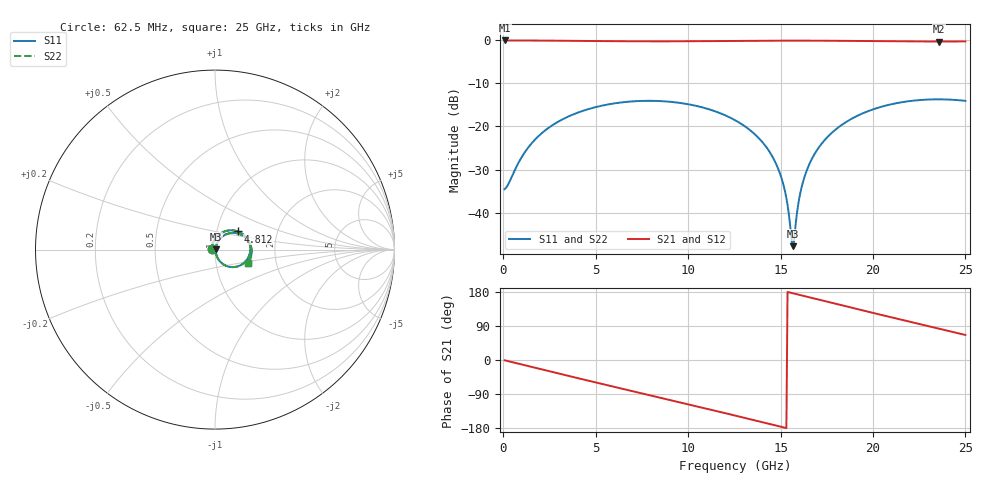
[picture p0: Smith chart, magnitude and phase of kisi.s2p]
! thru_BV_ts_refinout2_q050f25s_out: 2×thru B.Cu, 6 mm
! stackup: as the board case
! ports: 1 near, 2 far
! kisi-fdtd, conformal, dfine 0.05 mm, 186592 cells
# Hz S RI R 50
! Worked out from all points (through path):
!   400 points, 62.5 MHz to 25 GHz, reference 50 ohm
!   highest |S21| = -0.16 dB at 62.5 MHz (marker M1); lowest = -0.4 dB at 23.56 GHz (marker M2)
!   group delay of S21, straight-line fit = 32.7 ps
!   lowest |S11| = -47.7 dB at 15.69 GHz (marker M3), VSWR 1.01, Z = 50.4 + j0.0915 ohm
!   |S11| at or under -10 dB: start of sweep to end of sweep
!   |S22| runs from -47.7 to -13.8 dB; largest |S21 - S12| = 0
!   S11 on the Smith chart (normalised r, x): 62.5 MHz: 0.96, +0.01; 4.812 GHz: 1.26, +0.26; 25 GHz: 1.42, -0.22
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6.25e7  -0.0185 0.0028  0.9817 -0.0128  0.9817 -0.0128  -0.0185 0.0028
1e9  -0.00932 0.0434  0.9598 -0.2034  0.9598 -0.2034  -0.00932 0.0434
1.75e9  0.00859 0.0712  0.915 -0.35  0.915 -0.35  0.00859 0.0712
4.25e9  0.1049 0.1067  0.6162 -0.7491  0.6162 -0.7491  0.1049 0.1067
4.8125e9  0.1276 0.101  0.5249 -0.8126  0.5249 -0.8126  0.1276 0.101
6.625e9  0.1834 0.0536  0.1975 -0.94  0.1975 -0.94  0.1834 0.0536
8.375e9  0.1954 -0.0151  -0.1374 -0.9486  -0.1374 -0.9486  0.1954 -0.0151
1.04375e10  0.1511 -0.0822  -0.5106 -0.8157  -0.5106 -0.8157  0.1511 -0.0822
1.25625e10  0.0702 -0.0932  -0.8128 -0.5294  -0.8128 -0.5294  0.0702 -0.0932
1.3875e10  0.0273 -0.0653  -0.9291 -0.2929  -0.9291 -0.2929  0.0273 -0.0653
1.475e10  0.00971 -0.0357  -0.9687 -0.1197  -0.9687 -0.1197  0.00971 -0.0357
1.525e10  0.00487 -0.0165  -0.9765 -0.0179  -0.9765 -0.0179  0.00487 -0.0165
1.54375e10  0.00411 -0.00906  -0.9766 0.0205  -0.9766 0.0205  0.00411 -0.00906
1.5625e10  0.00394 -0.00158  -0.9751 0.0588  -0.9751 0.0588  0.00394 -0.00158
1.56875e10  0.00401 0.000908  -0.9743 0.0716  -0.9743 0.0716  0.00401 0.000908
1.5875e10  0.00462 0.00837  -0.9707 0.1098  -0.9707 0.1098  0.00462 0.00837
1.60625e10  0.00583 0.0158  -0.9656 0.1479  -0.9656 0.1479  0.00583 0.0158
1.66875e10  0.014 0.0394  -0.9375 0.2726  -0.9375 0.2726  0.014 0.0394
1.83125e10  0.0606 0.0844  -0.7897 0.5672  -0.7897 0.5672  0.0606 0.0844
2.0875e10  0.1611 0.0743  -0.3908 0.8783  -0.3908 0.8783  0.1611 0.0743
2.35625e10  0.2036 -0.0223  0.1203 0.9473  0.1203 0.9473  0.2036 -0.0223
2.5e10  0.1818 -0.0753  0.3882 0.8747  0.3882 0.8747  0.1818 -0.0753
